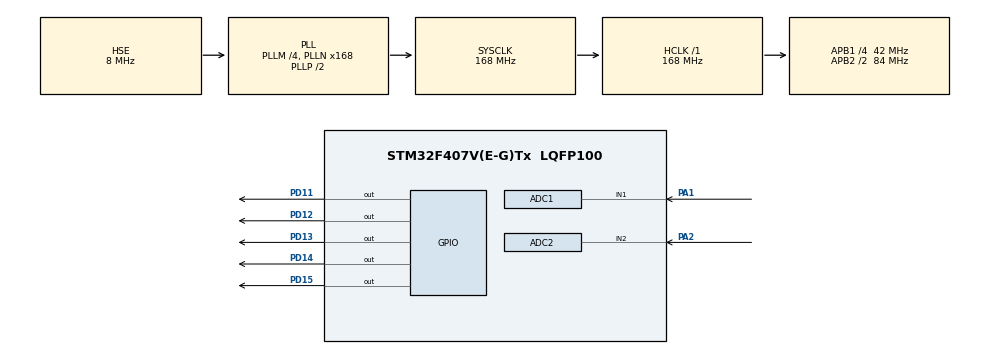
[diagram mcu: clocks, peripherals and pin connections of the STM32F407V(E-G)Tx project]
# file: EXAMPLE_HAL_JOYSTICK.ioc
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ADC1.Channel-0\#ChannelRegularConversion=ADC_CHANNEL_1
ADC1.ContinuousConvMode=ENABLE
ADC1.DMAContinuousRequests=DISABLE
ADC1.DiscontinuousConvMode=DISABLE
ADC1.NbrOfConversion=1
ADC1.NbrOfConversionFlag=1
ADC1.Rank-0\#ChannelRegularConversion=1
ADC1.SamplingTime-0\#ChannelRegularConversion=ADC_SAMPLETIME_56CYCLES
ADC1.ScanConvMode=ENABLE
ADC1.master=1
ADC2.Channel-0\#ChannelRegularConversion=ADC_CHANNEL_2
ADC2.DMAContinuousRequests=DISABLE
ADC2.EOCSelection=ADC_EOC_SINGLE_CONV
ADC2.NbrOfConversion=1
ADC2.NbrOfConversionFlag=1
ADC2.Rank-0\#ChannelRegularConversion=1
ADC2.SamplingTime-0\#ChannelRegularConversion=ADC_SAMPLETIME_56CYCLES
ADC2.ScanConvMode=ENABLE
Dma.ADC1.0.Direction=DMA_PERIPH_TO_MEMORY
Dma.ADC1.0.FIFOMode=DMA_FIFOMODE_DISABLE
Dma.ADC1.0.Instance=DMA2_Stream0
Dma.ADC1.0.MemDataAlignment=DMA_MDATAALIGN_WORD
Dma.ADC1.0.MemInc=DMA_MINC_ENABLE
Dma.ADC1.0.Mode=DMA_CIRCULAR
Dma.ADC1.0.PeriphDataAlignment=DMA_PDATAALIGN_WORD
Dma.ADC1.0.PeriphInc=DMA_PINC_DISABLE
Dma.ADC1.0.Priority=DMA_PRIORITY_LOW
Dma.ADC2.1.Direction=DMA_PERIPH_TO_MEMORY
Dma.ADC2.1.FIFOMode=DMA_FIFOMODE_DISABLE
Dma.ADC2.1.Instance=DMA2_Stream2
Dma.ADC2.1.MemDataAlignment=DMA_MDATAALIGN_WORD
Dma.ADC2.1.MemInc=DMA_MINC_ENABLE
Dma.ADC2.1.Mode=DMA_CIRCULAR
Dma.ADC2.1.PeriphDataAlignment=DMA_PDATAALIGN_WORD
Dma.ADC2.1.PeriphInc=DMA_PINC_DISABLE
Dma.ADC2.1.Priority=DMA_PRIORITY_LOW
Dma.Request0=ADC1
Dma.Request1=ADC2
Mcu.Family=STM32F4
Mcu.Name=STM32F407V(E-G)Tx
Mcu.Package=LQFP100
NVIC.DMA2_Stream0_IRQn=true\:0\:0\:false\:false\:true\:false\:true
NVIC.DMA2_Stream2_IRQn=true\:0\:0\:false\:false\:true\:false\:true
NVIC.PriorityGroup=NVIC_PRIORITYGROUP_4
PA1.Signal=ADCx_IN1
PA13.Mode=Serial_Wire
PA13.Signal=SYS_JTMS-SWDIO
PA14.Mode=Serial_Wire
PA14.Signal=SYS_JTCK-SWCLK
PA2.Signal=ADCx_IN2
PD11.Signal=GPIO_Output
PD12.Signal=GPIO_Output
PD13.Signal=GPIO_Output
PD14.Signal=GPIO_Output
PD15.Signal=GPIO_Output
PH0-OSC_IN.Mode=HSE-External-Oscillator
PH0-OSC_IN.Signal=RCC_OSC_IN
PH1-OSC_OUT.Mode=HSE-External-Oscillator
PH1-OSC_OUT.Signal=RCC_OSC_OUT
ProjectManager.HeapSize=0x200
ProjectManager.StackSize=0x400
ProjectManager.TargetToolchain=STM32CubeIDE
RCC.48MHZClocksFreq_Value=84000000
RCC.AHBFreq_Value=168000000
RCC.APB1CLKDivider=RCC_HCLK_DIV4
RCC.APB1Freq_Value=42000000
RCC.APB1TimFreq_Value=84000000
RCC.APB2CLKDivider=RCC_HCLK_DIV2
RCC.APB2Freq_Value=84000000
RCC.APB2TimFreq_Value=168000000
RCC.CortexFreq_Value=168000000
RCC.HCLKFreq_Value=168000000
RCC.HSE_VALUE=8000000
RCC.HSI_VALUE=16000000
RCC.LSE_VALUE=32768
RCC.PLLM=4
RCC.PLLN=168
RCC.PLLSourceVirtual=RCC_PLLSOURCE_HSE
RCC.SYSCLKFreq_VALUE=168000000
RCC.SYSCLKSource=RCC_SYSCLKSOURCE_PLLCLK
RCC.VCOOutputFreq_Value=336000000
SH.ADCx_IN1.0=ADC1_IN1,IN1
SH.ADCx_IN2.0=ADC2_IN2,IN2
board=custom

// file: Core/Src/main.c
/* USER CODE BEGIN Header */
/**
  ******************************************************************************
  * @file           : main.c
  * @brief          : Main program body
  ******************************************************************************
  * @attention
  *
  * <h2><center>&copy; Copyright (c) 2021 STMicroelectronics.
  * All rights reserved.</center></h2>
  *
  * This software component is licensed by ST under BSD 3-Clause license,
  * the "License"; You may not use this file except in compliance with the
  * License. You may obtain a copy of the License at:
  *                        opensource.org/licenses/BSD-3-Clause
  *
  ******************************************************************************
  */
/* USER CODE END Header */
#include "main.h"

ADC_HandleTypeDef hadc1;
ADC_HandleTypeDef hadc2;
DMA_HandleTypeDef hdma_adc1;
DMA_HandleTypeDef hdma_adc2;

void SystemClock_Config(void);
static void MX_GPIO_Init(void);
static void MX_DMA_Init(void);
static void MX_ADC1_Init(void);
static void MX_ADC2_Init(void);

/* USER CODE BEGIN 0 */

uint32_t VRx[2];
uint32_t VRy[2];
uint8_t button;

/* USER CODE END 0 */

int main(void)
{

  /* MCU Configuration--------------------------------------------------------*/

  /* Reset of all peripherals, Initializes the Flash interface and the Systick. */
  HAL_Init();

  /* Configure the system clock */
  SystemClock_Config();

  /* Initialize all configured peripherals */
  MX_GPIO_Init();
  MX_DMA_Init();
  MX_ADC1_Init();
  MX_ADC2_Init();

  /* Infinite loop */
  while (1)
  {

    /* USER CODE BEGIN 3 */

	  HAL_ADC_Start_DMA(&hadc1, VRx, 2);  // start adc in dma mode for multichannel
	  HAL_ADC_Start_DMA(&hadc2, VRy, 2);

	  if ((VRx[0]>=3245)&&(VRx[0]<=4090))   // if the value is between 2000 to 3000
	 	 	  {

	 	 		  HAL_GPIO_WritePin(GPIOD, GPIO_PIN_15, GPIO_PIN_RESET);
	 	 		  HAL_GPIO_WritePin(GPIOD, GPIO_PIN_13, GPIO_PIN_RESET);

	 	 	  }

	 	 	  if ((VRy[0]>=1050) && (VRy[0]<=1070))
	 	 	  {

	 	 		  HAL_GPIO_WritePin(GPIOD, GPIO_PIN_14, GPIO_PIN_RESET);
	 	 		  HAL_GPIO_WritePin(GPIOD, GPIO_PIN_12, GPIO_PIN_RESET);
	 	 	  }

	 	 	  if ((VRx[0]>=4090))  // towards xplus
	 	 	  {

	 	 		  HAL_GPIO_WritePin(GPIOD, GPIO_PIN_15, GPIO_PIN_RESET);
	 	 		  HAL_GPIO_WritePin(GPIOD, GPIO_PIN_13, GPIO_PIN_SET);
	 	 	  }

	 	 	  if ((VRx[0]<=800))  // towards xmin
	 	 	  {

	 	 		  HAL_GPIO_WritePin(GPIOD, GPIO_PIN_15, GPIO_PIN_SET);
	 	 		  HAL_GPIO_WritePin(GPIOD, GPIO_PIN_13, GPIO_PIN_RESET);
	 	 	  }

	 	 	  if ((VRy[0]>=4000))   // towards yplus
	 	 	  {

	 	 		  HAL_GPIO_WritePin(GPIOD, GPIO_PIN_14, GPIO_PIN_RESET);
	 	 		  HAL_GPIO_WritePin(GPIOD, GPIO_PIN_12, GPIO_PIN_SET);

	 	 	  }

	 	 	  if ((VRy[0]<=800))  // ymin
	 	 	  {

	 	 		  HAL_GPIO_WritePin(GPIOD, GPIO_PIN_14, GPIO_PIN_SET);
	 	 		  HAL_GPIO_WritePin(GPIOD, GPIO_PIN_12, GPIO_PIN_RESET);
	 	 	  }

  }
  /* USER CODE END 3 */
}

void SystemClock_Config(void)
{
  RCC_OscInitTypeDef RCC_OscInitStruct = {0};
  RCC_ClkInitTypeDef RCC_ClkInitStruct = {0};

  /** Configure the main internal regulator output voltage
  */
  __HAL_RCC_PWR_CLK_ENABLE();
  __HAL_PWR_VOLTAGESCALING_CONFIG(PWR_REGULATOR_VOLTAGE_SCALE1);
  /** Initializes the RCC Oscillators according to the specified parameters
  * in the RCC_OscInitTypeDef structure.
  */
  RCC_OscInitStruct.OscillatorType = RCC_OSCILLATORTYPE_HSE;
  RCC_OscInitStruct.HSEState = RCC_HSE_ON;
  RCC_OscInitStruct.PLL.PLLState = RCC_PLL_ON;
  RCC_OscInitStruct.PLL.PLLSource = RCC_PLLSOURCE_HSE;
  RCC_OscInitStruct.PLL.PLLM = 4;
  RCC_OscInitStruct.PLL.PLLN = 168;
  RCC_OscInitStruct.PLL.PLLP = RCC_PLLP_DIV2;
  RCC_OscInitStruct.PLL.PLLQ = 4;
  if (HAL_RCC_OscConfig(&RCC_OscInitStruct) != HAL_OK)
  {
    Error_Handler();
  }
  /** Initializes the CPU, AHB and APB buses clocks
  */
  RCC_ClkInitStruct.ClockType = RCC_CLOCKTYPE_HCLK|RCC_CLOCKTYPE_SYSCLK
                              |RCC_CLOCKTYPE_PCLK1|RCC_CLOCKTYPE_PCLK2;
  RCC_ClkInitStruct.SYSCLKSource = RCC_SYSCLKSOURCE_PLLCLK;
  RCC_ClkInitStruct.AHBCLKDivider = RCC_SYSCLK_DIV1;
  RCC_ClkInitStruct.APB1CLKDivider = RCC_HCLK_DIV4;
  RCC_ClkInitStruct.APB2CLKDivider = RCC_HCLK_DIV2;

  if (HAL_RCC_ClockConfig(&RCC_ClkInitStruct, FLASH_LATENCY_5) != HAL_OK)
  {
    Error_Handler();
  }
}

static void MX_ADC1_Init(void)
{

  ADC_ChannelConfTypeDef sConfig = {0};

  /** Configure the global features of the ADC (Clock, Resolution, Data Alignment and number of conversion)
  */
  hadc1.Instance = ADC1;
  hadc1.Init.ClockPrescaler = ADC_CLOCK_SYNC_PCLK_DIV4;
  hadc1.Init.Resolution = ADC_RESOLUTION_12B;
  hadc1.Init.ScanConvMode = ENABLE;
  hadc1.Init.ContinuousConvMode = ENABLE;
  hadc1.Init.DiscontinuousConvMode = DISABLE;
  hadc1.Init.ExternalTrigConvEdge = ADC_EXTERNALTRIGCONVEDGE_NONE;
  hadc1.Init.ExternalTrigConv = ADC_SOFTWARE_START;
  hadc1.Init.DataAlign = ADC_DATAALIGN_RIGHT;
  hadc1.Init.NbrOfConversion = 1;
  hadc1.Init.DMAContinuousRequests = DISABLE;
  hadc1.Init.EOCSelection = ADC_EOC_SINGLE_CONV;
  if (HAL_ADC_Init(&hadc1) != HAL_OK)
  {
    Error_Handler();
  }
  /** Configure for the selected ADC regular channel its corresponding rank in the sequencer and its sample time.
  */
  sConfig.Channel = ADC_CHANNEL_1;
  sConfig.Rank = 1;
  sConfig.SamplingTime = ADC_SAMPLETIME_56CYCLES;
  if (HAL_ADC_ConfigChannel(&hadc1, &sConfig) != HAL_OK)
  {
    Error_Handler();
  }

}

static void MX_ADC2_Init(void)
{

  ADC_ChannelConfTypeDef sConfig = {0};

  /** Configure the global features of the ADC (Clock, Resolution, Data Alignment and number of conversion)
  */
  hadc2.Instance = ADC2;
  hadc2.Init.ClockPrescaler = ADC_CLOCK_SYNC_PCLK_DIV4;
  hadc2.Init.Resolution = ADC_RESOLUTION_12B;
  hadc2.Init.ScanConvMode = ENABLE;
  hadc2.Init.ContinuousConvMode = ENABLE;
  hadc2.Init.DiscontinuousConvMode = DISABLE;
  hadc2.Init.ExternalTrigConvEdge = ADC_EXTERNALTRIGCONVEDGE_NONE;
  hadc2.Init.ExternalTrigConv = ADC_SOFTWARE_START;
  hadc2.Init.DataAlign = ADC_DATAALIGN_RIGHT;
  hadc2.Init.NbrOfConversion = 1;
  hadc2.Init.DMAContinuousRequests = DISABLE;
  hadc2.Init.EOCSelection = ADC_EOC_SINGLE_CONV;
  if (HAL_ADC_Init(&hadc2) != HAL_OK)
  {
    Error_Handler();
  }
  /** Configure for the selected ADC regular channel its corresponding rank in the sequencer and its sample time.
  */
  sConfig.Channel = ADC_CHANNEL_2;
  sConfig.Rank = 1;
  sConfig.SamplingTime = ADC_SAMPLETIME_56CYCLES;
  if (HAL_ADC_ConfigChannel(&hadc2, &sConfig) != HAL_OK)
  {
    Error_Handler();
  }

}

static void MX_DMA_Init(void)
{

  /* DMA controller clock enable */
  __HAL_RCC_DMA2_CLK_ENABLE();

  /* DMA interrupt init */
  /* DMA2_Stream0_IRQn interrupt configuration */
  HAL_NVIC_SetPriority(DMA2_Stream0_IRQn, 0, 0);
  HAL_NVIC_EnableIRQ(DMA2_Stream0_IRQn);
  /* DMA2_Stream2_IRQn interrupt configuration */
  HAL_NVIC_SetPriority(DMA2_Stream2_IRQn, 0, 0);
  HAL_NVIC_EnableIRQ(DMA2_Stream2_IRQn);

}

static void MX_GPIO_Init(void)
{
  GPIO_InitTypeDef GPIO_InitStruct = {0};

  /* GPIO Ports Clock Enable */
  __HAL_RCC_GPIOH_CLK_ENABLE();
  __HAL_RCC_GPIOA_CLK_ENABLE();
  __HAL_RCC_GPIOD_CLK_ENABLE();

  /*Configure GPIO pin Output Level */
  HAL_GPIO_WritePin(GPIOD, GPIO_PIN_12|GPIO_PIN_13|GPIO_PIN_14|GPIO_PIN_15, GPIO_PIN_RESET);

  /*Configure GPIO pin : PD11 */
  GPIO_InitStruct.Pin = GPIO_PIN_11;
  GPIO_InitStruct.Mode = GPIO_MODE_INPUT;
  GPIO_InitStruct.Pull = GPIO_NOPULL;
  HAL_GPIO_Init(GPIOD, &GPIO_InitStruct);

  /*Configure GPIO pins : PD12 PD13 PD14 PD15 */
  GPIO_InitStruct.Pin = GPIO_PIN_12|GPIO_PIN_13|GPIO_PIN_14|GPIO_PIN_15;
  GPIO_InitStruct.Mode = GPIO_MODE_OUTPUT_PP;
  GPIO_InitStruct.Pull = GPIO_NOPULL;
  GPIO_InitStruct.Speed = GPIO_SPEED_FREQ_LOW;
  HAL_GPIO_Init(GPIOD, &GPIO_InitStruct);

}

void Error_Handler(void)
{
  __disable_irq();
  while (1)
  {
  }
}

/************************ (C) COPYRIGHT STMicroelectronics *****END OF FILE****/
